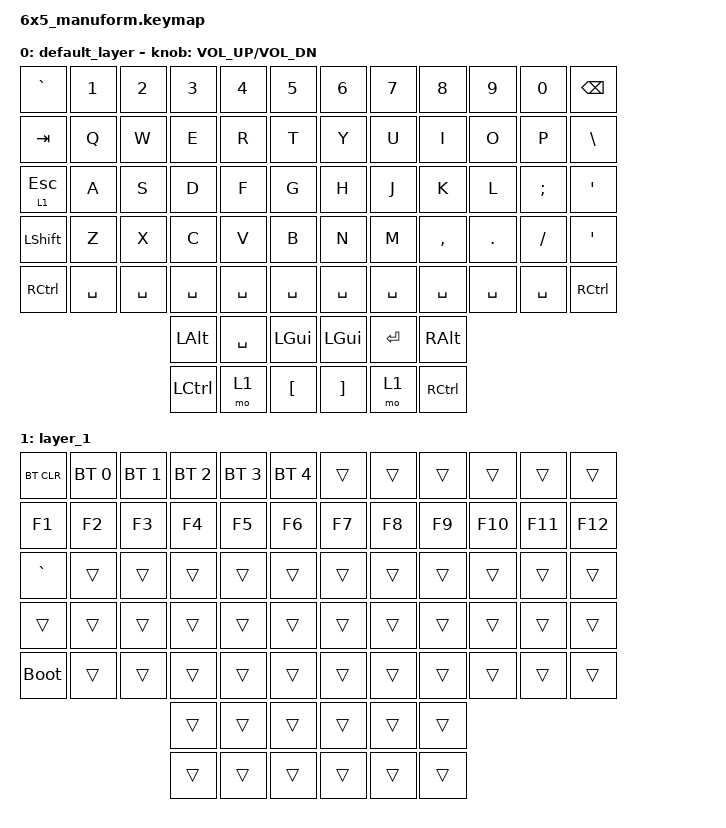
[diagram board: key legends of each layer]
/*
 * Copyright (c) 2020 The ZMK Contributors
 *
 * SPDX-License-Identifier: MIT
 */

#include <behaviors.dtsi>
#include <dt-bindings/zmk/bt.h>
#include <dt-bindings/zmk/keys.h>

/ {
    keymap {
        compatible = "zmk,keymap";

        default_layer {
            bindings = <
&kp GRAVE     &kp N1     &kp N2     &kp N3     &kp N4     &kp N5       &kp N6     &kp N7     &kp N8     &kp N9     &kp N0     &kp BSPC
&kp TAB       &kp Q      &kp W      &kp E      &kp R      &kp T        &kp Y      &kp U      &kp I      &kp O      &kp P      &kp BSLH
&lt 1 ESCAPE  &kp A      &kp S      &kp D      &kp F      &kp G        &kp H      &kp J      &kp K      &kp L      &kp SEMI   &kp SQT
&kp LSHFT     &kp Z      &kp X      &kp C      &kp V      &kp B        &kp N      &kp M      &kp COMMA  &kp DOT    &kp FSLH   &kp SQT
&kp RCTRL     &kp SPACE  &kp SPACE  &kp SPACE  &kp SPACE  &kp SPACE    &kp SPACE  &kp SPACE  &kp SPACE  &kp SPACE  &kp SPACE  &kp RCTRL
                                    &kp LALT   &kp SPACE  &kp LGUI     &kp LGUI   &kp RET    &kp RALT
                                    &kp LCTRL  &mo 1      &kp LBKT     &kp RBKT   &mo 1      &kp RCTRL
            >;

            sensor-bindings = <&inc_dec_kp C_VOL_UP C_VOL_DN>;
        };

        layer_1 {
            bindings = <
&bt BT_CLR   &bt BT_SEL 0  &bt BT_SEL 1  &bt BT_SEL 2  &bt BT_SEL 3  &bt BT_SEL 4    &trans  &trans  &trans  &trans   &trans   &trans
&kp F1       &kp F2        &kp F3        &kp F4        &kp F5        &kp F6          &kp F7  &kp F8  &kp F9  &kp F10  &kp F11  &kp F12
&kp GRAVE    &trans        &trans        &trans        &trans        &trans          &trans  &trans  &trans  &trans   &trans   &trans
&trans       &trans        &trans        &trans        &trans        &trans          &trans  &trans  &trans  &trans   &trans   &trans
&bootloader  &trans        &trans        &trans        &trans        &trans          &trans  &trans  &trans  &trans   &trans   &trans
                                         &trans        &trans        &trans          &trans  &trans  &trans
                                         &trans        &trans        &trans          &trans  &trans  &trans
            >;
        };
    };
};
